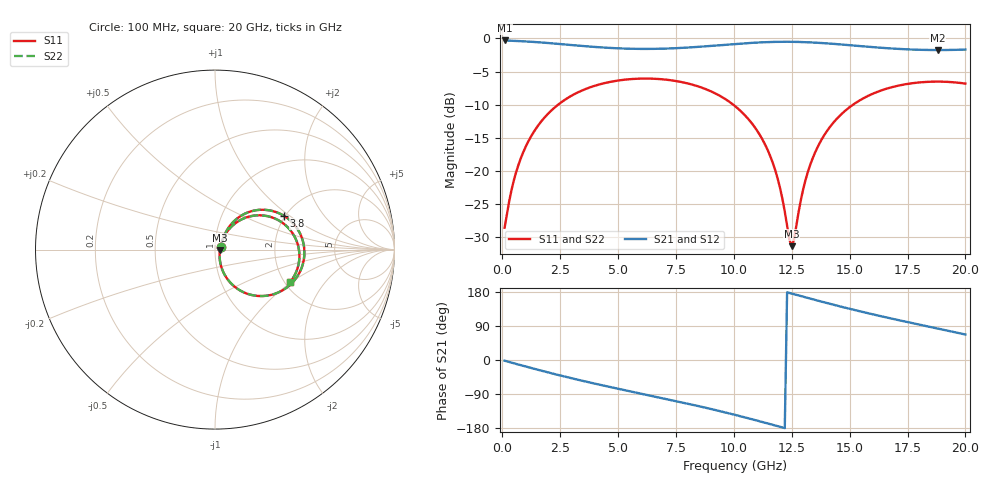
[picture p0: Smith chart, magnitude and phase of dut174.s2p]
! Touchstone file exported from HFSS 2026.1.0
!  File:  C:/ffzhzh/LocalFiles/Ansys_Project_Files/temp_train_TSV_RDL_174_1783055941_17544.aedt
!  Generated:  01:35:29 PM Jul  3, 2026
!  Design:  TSV_RDL
!  Project:  temp_train_TSV_RDL_174_1783055941_17544
! Variables:
!  h_bsmrdl = 3.73um
!  h_ox = 20um
!  h_rdl = 5um
!  h_sub = 97.52um
!  h_tmrdl = 2.79um
!  h_tsv = 97.52um
!  h_via = 3um
!  l_bsmrdl = 109.26um
!  l_sub = 4774.8um
!  l_tmrdl = 982.13um
!  m_sub = 200um
!  pitch = 46.98um
!  r_tsv = 2.3um
!  s_tmrdl = 10um
!  w_bsmrdl = 10.59um
!  w_sub = 500um
!  w_tmrdl = 28.91um
!  x_tsv_center1 = 996.585um
!  x_tsv_center2 = 1116.435um
!  x_tsv_center3 = 2127.475um
!  x_tsv_center4 = 2247.325um
!  x_tsv_center5 = 3258.365um
!  x_tsv_center6 = 3378.215um
# GHz S MA R 50.000000
! Terminal data exported
! Port[1] = TM_RDL1_1_T1
! Port[2] = TM_RDL5_1_T1
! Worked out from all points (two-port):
!   200 points, 100 MHz to 20 GHz, reference 50 ohm
!   highest |S21| = -0.30 dB at 100 MHz (marker M1); lowest = -1.7 dB at 18.8 GHz (marker M2)
!   |S21| within 3 dB of the highest: start of sweep to end of sweep
!   lowest |S11| = -31.3 dB at 12.5 GHz (marker M3), VSWR 1.06, Z = 52.8 - j0.341 ohm
!   |S11| at or under -10 dB: start of sweep to 2.404 GHz; 9.979 GHz to 15.14 GHz (5.162 GHz wide, 41.1 % of centre)
!   |S22| runs from -31.3 to -6.0 dB; largest |S21 - S12| = 1.8e-14
!   S11 on the Smith chart (normalised r, x): 100 MHz: 1.07, +0.03; 3.8 GHz: 1.98, +0.91; 20 GHz: 2.15, -0.97
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0.1  0.03742 24.5  0.9663 -1.8  0.9663 -1.8  0.03742 24.5
! Gamma 0 0 0 0
! Port Impedance 50 0 50 0
0.6  0.09846 57.0  0.958 -10.4  0.958 -10.4  0.09846 57.0
1.2  0.1771 57.0  0.9457 -20.3  0.9457 -20.3  0.1771 57.0
2.2  0.2952 46.4  0.9176 -36.2  0.9176 -36.2  0.2952 46.4
3.5  0.4092 29.8  0.8768 -55.4  0.8768 -55.4  0.4092 29.8
3.8  0.4286 26.0  0.8683 -59.7  0.8683 -59.7  0.4286 26.0
5.3  0.4894 7.2  0.839 -79.8  0.839 -79.8  0.4894 7.2
6.8  0.4941 -11.2  0.8366 -99.2  0.8366 -99.2  0.4941 -11.2
8.6  0.4268 -34.0  0.8681 -123.4  0.8681 -123.4  0.4268 -33.9
10.1  0.3041 -53.9  0.9098 -145.5  0.9098 -145.5  0.3042 -53.9
11  0.2023 -65.2  0.9316 -159.8  0.9316 -159.8  0.2024 -65.1
11.6  0.126 -70.0  0.9409 -169.7  0.9409 -169.7  0.1261 -69.9
12  0.07401 -67.4  0.9439 -176.4  0.9439 -176.4  0.07411 -67.2
12.4  0.03042 -32.2  0.9442 176.9  0.9442 176.9  0.03064 -32.0
12.5  0.02715 -6.8  0.9438 175.3  0.9438 175.3  0.02738 -6.9
13  0.07363 53.3  0.9393 166.9  0.9393 166.9  0.0737 53.1
13.4  0.1244 55.9  0.9328 160.3  0.9328 160.3  0.1244 55.8
14  0.1978 51.2  0.9191 150.6  0.9191 150.6  0.1978 51.2
14.7  0.2743 42.9  0.8993 139.7  0.8993 139.7  0.2743 42.8
16.7  0.4234 17.2  0.8429 110.8  0.8429 110.8  0.4233 17.2
18.8  0.4729 -8.5  0.818 83.1  0.818 83.1  0.4729 -8.5
20  0.4566 -23.1  0.8252 67.3  0.8252 67.3  0.4566 -23.1
